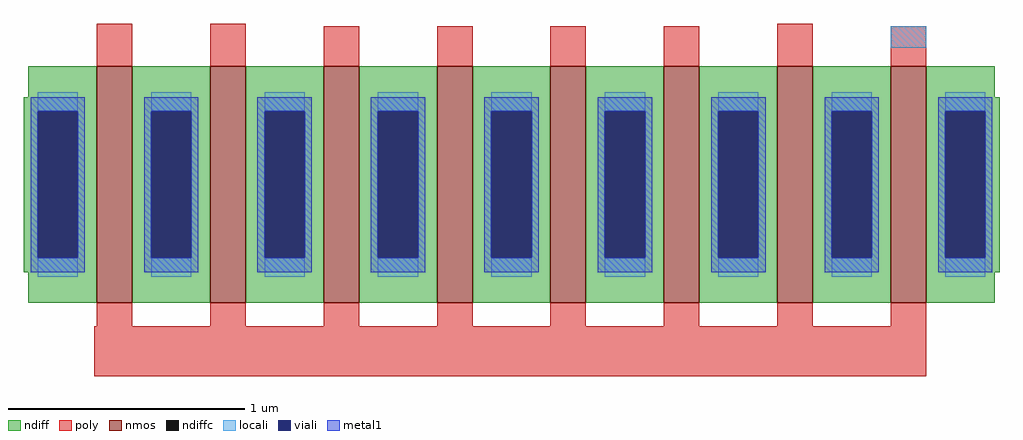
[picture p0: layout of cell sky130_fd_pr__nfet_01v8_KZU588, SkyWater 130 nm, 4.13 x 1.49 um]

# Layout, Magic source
magic
tech sky130A
magscale 1 2
<< nmos >>
rect -351 -100 -321 100
rect -255 -100 -225 100
rect -159 -100 -129 100
rect -63 -100 -33 100
rect 33 -100 63 100
rect 129 -100 159 100
rect 225 -100 255 100
rect 321 -100 351 100
<< ndiff >>
rect -409 74 -351 100
rect -413 62 -351 74
rect -413 -62 -401 62
rect -367 -62 -351 62
rect -413 -74 -351 -62
rect -409 -100 -351 -74
rect -321 62 -255 100
rect -321 -62 -305 62
rect -271 -62 -255 62
rect -321 -100 -255 -62
rect -225 62 -159 100
rect -225 -62 -209 62
rect -175 -62 -159 62
rect -225 -100 -159 -62
rect -129 62 -63 100
rect -129 -62 -113 62
rect -79 -62 -63 62
rect -129 -100 -63 -62
rect -33 62 33 100
rect -33 -62 -17 62
rect 17 -62 33 62
rect -33 -100 33 -62
rect 63 62 129 100
rect 63 -62 79 62
rect 113 -62 129 62
rect 63 -100 129 -62
rect 159 62 225 100
rect 159 -62 175 62
rect 209 -62 225 62
rect 159 -100 225 -62
rect 255 62 321 100
rect 255 -62 271 62
rect 305 -62 321 62
rect 255 -100 321 -62
rect 351 74 409 100
rect 351 62 413 74
rect 351 -62 367 62
rect 401 -62 413 62
rect 351 -74 413 -62
rect 351 -100 409 -74
<< ndiffc >>
rect -401 -62 -367 62
rect -305 -62 -271 62
rect -209 -62 -175 62
rect -113 -62 -79 62
rect -17 -62 17 62
rect 79 -62 113 62
rect 175 -62 209 62
rect 271 -62 305 62
rect 367 -62 401 62
<< poly >>
rect -351 100 -321 136
rect -255 100 -225 136
rect -159 100 -129 134
rect -63 100 -33 134
rect 33 100 63 134
rect 129 100 159 134
rect 225 100 255 136
rect 321 100 351 134
rect -351 -120 -321 -100
rect -255 -120 -225 -100
rect -159 -120 -129 -100
rect -63 -120 -33 -100
rect 33 -120 63 -100
rect 129 -120 159 -100
rect 225 -120 255 -100
rect 321 -120 351 -100
rect -353 -162 351 -120
<< locali >>
rect 321 116 351 134
rect -401 62 -367 78
rect -401 -78 -367 -62
rect -305 62 -271 78
rect -305 -78 -271 -62
rect -209 62 -175 78
rect -209 -78 -175 -62
rect -113 62 -79 78
rect -113 -78 -79 -62
rect -17 62 17 78
rect -17 -78 17 -62
rect 79 62 113 78
rect 79 -78 113 -62
rect 175 62 209 78
rect 175 -78 209 -62
rect 271 62 305 78
rect 271 -78 305 -62
rect 367 62 401 78
rect 367 -78 401 -62
<< viali >>
rect -401 -62 -367 62
rect -305 -62 -271 62
rect -209 -62 -175 62
rect -113 -62 -79 62
rect -17 -62 17 62
rect 79 -62 113 62
rect 175 -62 209 62
rect 271 -62 305 62
rect 367 -62 401 62
<< metal1 >>
rect -407 62 -361 74
rect -407 -62 -401 62
rect -367 -62 -361 62
rect -407 -74 -361 -62
rect -311 62 -265 74
rect -311 -62 -305 62
rect -271 -62 -265 62
rect -311 -74 -265 -62
rect -215 62 -169 74
rect -215 -62 -209 62
rect -175 -62 -169 62
rect -215 -74 -169 -62
rect -119 62 -73 74
rect -119 -62 -113 62
rect -79 -62 -73 62
rect -119 -74 -73 -62
rect -23 62 23 74
rect -23 -62 -17 62
rect 17 -62 23 62
rect -23 -74 23 -62
rect 73 62 119 74
rect 73 -62 79 62
rect 113 -62 119 62
rect 73 -74 119 -62
rect 169 62 215 74
rect 169 -62 175 62
rect 209 -62 215 62
rect 169 -74 215 -62
rect 265 62 311 74
rect 265 -62 271 62
rect 305 -62 311 62
rect 265 -74 311 -62
rect 361 62 407 74
rect 361 -62 367 62
rect 401 -62 407 62
rect 361 -74 407 -62
<< properties >>
string gencell sky130_fd_pr__nfet_01v8
string library sky130
string parameters w 1 l 0.150 m 1 nf 8 diffcov 70 polycov 70 guard 0 glc 0 grc 0 gtc 0 gbc 0 tbcov 70 rlcov 70 topc 0 botc 0 poverlap 0 doverlap 1 lmin 0.15 wmin 0.42 compatible {sky130_fd_pr__nfet_01v8 sky130_fd_pr__nfet_01v8_lvt  sky130_fd_bs_flash__special_sonosfet_star  sky130_fd_pr__nfet_g5v0d10v5 sky130_fd_pr__nfet_05v0_nvt  sky130_fd_pr__nfet_03v3_nvt} full_metal 0 viasrc 70 viadrn 70 viagate 70 viagb 0 viagr 0 viagl 0 viagt 0
<< end >>
